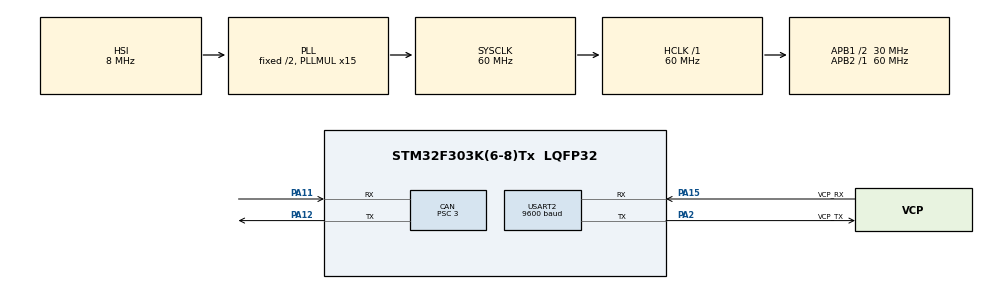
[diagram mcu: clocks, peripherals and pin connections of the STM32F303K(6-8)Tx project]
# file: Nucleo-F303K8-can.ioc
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CAN.BS1=CAN_BS1_7TQ
CAN.BS2=CAN_BS2_2TQ
CAN.CalculateBaudRate=1000000
CAN.CalculateTimeBit=1000
CAN.CalculateTimeQuantum=100.0
CAN.Prescaler=3
Mcu.Family=STM32F3
Mcu.Name=STM32F303K(6-8)Tx
Mcu.Package=LQFP32
NVIC.CAN_RX0_IRQn=true\:0\:0\:false\:false\:true\:true\:true\:true
NVIC.CAN_RX1_IRQn=true\:0\:0\:false\:false\:true\:true\:true\:true
NVIC.CAN_SCE_IRQn=true\:0\:0\:false\:false\:true\:true\:true\:true
NVIC.CAN_TX_IRQn=true\:0\:0\:false\:false\:true\:true\:true\:true
NVIC.PriorityGroup=NVIC_PRIORITYGROUP_4
PA11.Mode=CAN_Activate
PA11.Signal=CAN_RX
PA12.Mode=CAN_Activate
PA12.Signal=CAN_TX
PA13.GPIO_Label=SWDIO
PA13.Mode=Serial_Wire
PA13.Signal=SYS_JTMS-SWDIO
PA14.GPIO_Label=SWCLK
PA14.Mode=Serial_Wire
PA14.Signal=SYS_JTCK-SWCLK
PA15.GPIO_Label=VCP_RX
PA15.Mode=Asynchronous
PA15.Signal=USART2_RX
PA2.GPIO_Label=VCP_TX
PA2.Mode=Asynchronous
PA2.Signal=USART2_TX
PF0\ /\ OSC_IN.GPIO_Label=MCO
PF0\ /\ OSC_IN.Mode=HSE-External-Clock-Source
PF0\ /\ OSC_IN.Signal=RCC_OSC_IN
ProjectManager.HeapSize=0x200
ProjectManager.StackSize=0x400
ProjectManager.TargetToolchain=STM32CubeIDE
RCC.AHBFreq_Value=60000000
RCC.APB1CLKDivider=RCC_HCLK_DIV2
RCC.APB1Freq_Value=30000000
RCC.APB1TimFreq_Value=60000000
RCC.APB2Freq_Value=60000000
RCC.APB2TimFreq_Value=60000000
RCC.CortexFreq_Value=60000000
RCC.HCLKFreq_Value=60000000
RCC.HSE_VALUE=8000000
RCC.HSI_VALUE=8000000
RCC.PLLMUL=RCC_PLL_MUL15
RCC.SYSCLKFreq_VALUE=60000000
RCC.SYSCLKSourceVirtual=RCC_SYSCLKSOURCE_PLLCLK
USART2.BaudRate=9600
USART2.VirtualMode-Asynchronous=VM_ASYNC
board=NUCLEO-F303K8

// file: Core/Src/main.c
/* USER CODE BEGIN Header */

/**f3同士でCAN通信??��?��?ってみた�???��?��受信割込みとフィルターの??��?��?解が目??��?��?です�??
 * 受信�?ータをprintfするようにした 2024/08/08

  ******************************************************************************
  * @file           : main.c
  * @brief          : Main program body
  ******************************************************************************
  * @attention
  *
  * Copyright (c) 2024 STMicroelectronics.
  * All rights reserved.
  *
  * This software is licensed under terms that can be found in the LICENSE file
  * in the root directory of this software component.
  * If no LICENSE file comes with this software, it is provided AS-IS.
  *
  ******************************************************************************
  */
/* USER CODE END Header */
#include "main.h"

/* USER CODE BEGIN Includes */
#include <stdio.h>
/* USER CODE END Includes */

CAN_HandleTypeDef hcan;

UART_HandleTypeDef huart2;

/* USER CODE BEGIN PV */
CAN_TxHeaderTypeDef TxHeader;
uint32_t TxMailbox;
uint8_t TxData[8];

CAN_FilterTypeDef filter;
uint32_t id;
uint32_t dlc;
uint8_t data[8];

void HAL_CAN_RxFifo0MsgPendingCallback(CAN_HandleTypeDef *hcan){
	CAN_RxHeaderTypeDef RxHeader;
	uint8_t RxData[8];
	if(HAL_CAN_GetRxMessage(hcan,CAN_RX_FIFO0,&RxHeader,RxData)==HAL_OK){
		id = (RxHeader.IDE == CAN_ID_STD)? RxHeader.StdId : RxHeader.ExtId;     // ID
		dlc = RxHeader.DLC;                                                     // DLC
		data[0] = RxData[0];                                                    // Data
		data[1] = RxData[1];
		data[2] = RxData[2];
		data[3] = RxData[3];
		data[4] = RxData[4];
		data[5] = RxData[5];
		data[6] = RxData[6];
		data[7] = RxData[7];
	}
}
/* USER CODE END PV */

void SystemClock_Config(void);
static void MX_GPIO_Init(void);
static void MX_USART2_UART_Init(void);
static void MX_CAN_Init(void);

int main(void)
{

  /* USER CODE BEGIN 1 */
    setbuf(stdout, NULL);
  /* USER CODE END 1 */

  /* MCU Configuration--------------------------------------------------------*/

  /* Reset of all peripherals, Initializes the Flash interface and the Systick. */
  HAL_Init();

  /* Configure the system clock */
  SystemClock_Config();

  /* Initialize all configured peripherals */
  MX_GPIO_Init();
  MX_USART2_UART_Init();
  MX_CAN_Init();
  /* USER CODE BEGIN 2 */
  TxHeader.StdId = 0x555;
  TxHeader.RTR = CAN_RTR_DATA;
  TxHeader.IDE = CAN_ID_STD;//標準ID(11ビッ???��?��??��?��?).
  TxHeader.DLC = 8;//???��?��??��?��?ータ長.
  TxHeader.TransmitGlobalTime = DISABLE;//?

  filter.FilterIdHigh = 0;
  filter.FilterIdLow = 0;
  filter.FilterScale = CAN_FILTERSCALE_32BIT;
  filter.FilterFIFOAssignment = CAN_FILTER_FIFO0;
  filter.FilterBank = 0;
  filter.FilterMode = CAN_FILTERMODE_IDMASK;
  filter.SlaveStartFilterBank = 14;
  filter.FilterActivation = ENABLE;
  HAL_CAN_ConfigFilter(&hcan,&filter);

  HAL_CAN_ActivateNotification(&hcan,CAN_IT_RX_FIFO0_MSG_PENDING);
  HAL_CAN_Start(&hcan);
  /* USER CODE END 2 */

  /* Infinite loop */
  /* USER CODE BEGIN WHILE */
  while (1)
  {

	  if(0<HAL_CAN_GetTxMailboxesFreeLevel(&hcan)){

		  TxData[0] = 0x11;
		  TxData[1] = 0x22;
		  TxData[2] = 0x33;
		  TxData[3] = 0x44;
		  TxData[4] = 0x55;
		  TxData[5] = 0x66;
		  TxData[6] = 0x77;
		  TxData[7] = 0x88;
		  HAL_CAN_AddTxMessage(&hcan,&TxHeader,TxData,&TxMailbox);
	  }
	  printf("%d%d%d%d%d%d%d%d\r\n",data[0],data[1],data[2],data[3],data[4],data[5],data[6],data[7]);
    /* USER CODE END WHILE */

  }
}

void SystemClock_Config(void)
{
  RCC_OscInitTypeDef RCC_OscInitStruct = {0};
  RCC_ClkInitTypeDef RCC_ClkInitStruct = {0};

  /** Initializes the RCC Oscillators according to the specified parameters
  * in the RCC_OscInitTypeDef structure.
  */
  RCC_OscInitStruct.OscillatorType = RCC_OSCILLATORTYPE_HSI;
  RCC_OscInitStruct.HSIState = RCC_HSI_ON;
  RCC_OscInitStruct.HSICalibrationValue = RCC_HSICALIBRATION_DEFAULT;
  RCC_OscInitStruct.PLL.PLLState = RCC_PLL_ON;
  RCC_OscInitStruct.PLL.PLLSource = RCC_PLLSOURCE_HSI;
  RCC_OscInitStruct.PLL.PLLMUL = RCC_PLL_MUL15;
  if (HAL_RCC_OscConfig(&RCC_OscInitStruct) != HAL_OK)
  {
    Error_Handler();
  }

  /** Initializes the CPU, AHB and APB buses clocks
  */
  RCC_ClkInitStruct.ClockType = RCC_CLOCKTYPE_HCLK|RCC_CLOCKTYPE_SYSCLK
                              |RCC_CLOCKTYPE_PCLK1|RCC_CLOCKTYPE_PCLK2;
  RCC_ClkInitStruct.SYSCLKSource = RCC_SYSCLKSOURCE_PLLCLK;
  RCC_ClkInitStruct.AHBCLKDivider = RCC_SYSCLK_DIV1;
  RCC_ClkInitStruct.APB1CLKDivider = RCC_HCLK_DIV2;
  RCC_ClkInitStruct.APB2CLKDivider = RCC_HCLK_DIV1;

  if (HAL_RCC_ClockConfig(&RCC_ClkInitStruct, FLASH_LATENCY_2) != HAL_OK)
  {
    Error_Handler();
  }
}

static void MX_CAN_Init(void)
{

  hcan.Instance = CAN;
  hcan.Init.Prescaler = 3;
  hcan.Init.Mode = CAN_MODE_NORMAL;
  hcan.Init.SyncJumpWidth = CAN_SJW_1TQ;
  hcan.Init.TimeSeg1 = CAN_BS1_7TQ;
  hcan.Init.TimeSeg2 = CAN_BS2_2TQ;
  hcan.Init.TimeTriggeredMode = DISABLE;
  hcan.Init.AutoBusOff = DISABLE;
  hcan.Init.AutoWakeUp = DISABLE;
  hcan.Init.AutoRetransmission = DISABLE;
  hcan.Init.ReceiveFifoLocked = DISABLE;
  hcan.Init.TransmitFifoPriority = DISABLE;
  if (HAL_CAN_Init(&hcan) != HAL_OK)
  {
    Error_Handler();
  }

}

static void MX_USART2_UART_Init(void)
{

  huart2.Instance = USART2;
  huart2.Init.BaudRate = 9600;
  huart2.Init.WordLength = UART_WORDLENGTH_8B;
  huart2.Init.StopBits = UART_STOPBITS_1;
  huart2.Init.Parity = UART_PARITY_NONE;
  huart2.Init.Mode = UART_MODE_TX_RX;
  huart2.Init.HwFlowCtl = UART_HWCONTROL_NONE;
  huart2.Init.OverSampling = UART_OVERSAMPLING_16;
  huart2.Init.OneBitSampling = UART_ONE_BIT_SAMPLE_DISABLE;
  huart2.AdvancedInit.AdvFeatureInit = UART_ADVFEATURE_NO_INIT;
  if (HAL_UART_Init(&huart2) != HAL_OK)
  {
    Error_Handler();
  }

}

static void MX_GPIO_Init(void)
{

  /* GPIO Ports Clock Enable */
  __HAL_RCC_GPIOF_CLK_ENABLE();
  __HAL_RCC_GPIOA_CLK_ENABLE();

}

/* USER CODE BEGIN 4 */
int _write(int file, char *ptr, int len)
{
  HAL_UART_Transmit(&huart2,(uint8_t *)ptr,len,10);
  return len;
}
/* USER CODE END 4 */

void Error_Handler(void)
{
  __disable_irq();
  while (1)
  {
  }
}
